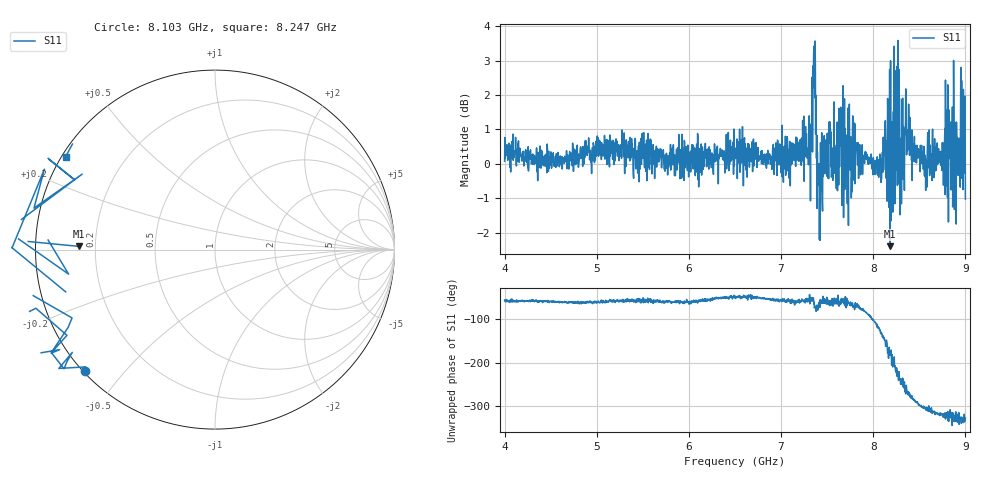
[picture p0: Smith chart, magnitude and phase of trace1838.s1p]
! Created with skrf 1.8.0 (http://scikit-rf.org).
# Hz S RI R 50.0
!freq ReS11 ImS11
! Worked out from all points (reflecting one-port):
!   1601 points, 4 GHz to 9 GHz, reference 50 ohm
!   lowest |S11| = -2.4 dB at 8.184 GHz (marker M1), VSWR 7.31, Z = 6.84 + j0.583 ohm
!   phase of S11 starts at -56 deg and turns -271 deg over the sweep
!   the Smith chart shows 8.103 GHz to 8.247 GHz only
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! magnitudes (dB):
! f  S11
! 4 GHz  0.1
! 4.625 GHz  -0.1
! 5.25 GHz  0.3
! 5.875 GHz  0.0
! 6.5 GHz  0.3
! 7.125 GHz  0.3
! 7.303 GHz  1.4
! 7.356 GHz  3.4
! 7.378 GHz  2.0
! 7.4 GHz  -0.2
! 7.425 GHz  -1.9
! 7.509 GHz  -0.4
! 7.575 GHz  1.8
! 7.65 GHz  1.0
! 7.75 GHz  0.3
! 8.066 GHz  0.0
! 8.184 GHz  -2.4
! 8.197 GHz  0.8
! 8.244 GHz  -0.1
! 8.316 GHz  0.4
! 8.334 GHz  0.4
! 8.375 GHz  1.0
! 8.431 GHz  0.1
! 8.556 GHz  -0.3
! 8.847 GHz  0.8
! 8.919 GHz  -0.1
! 8.972 GHz  0.1
! 9 GHz  -1.0
